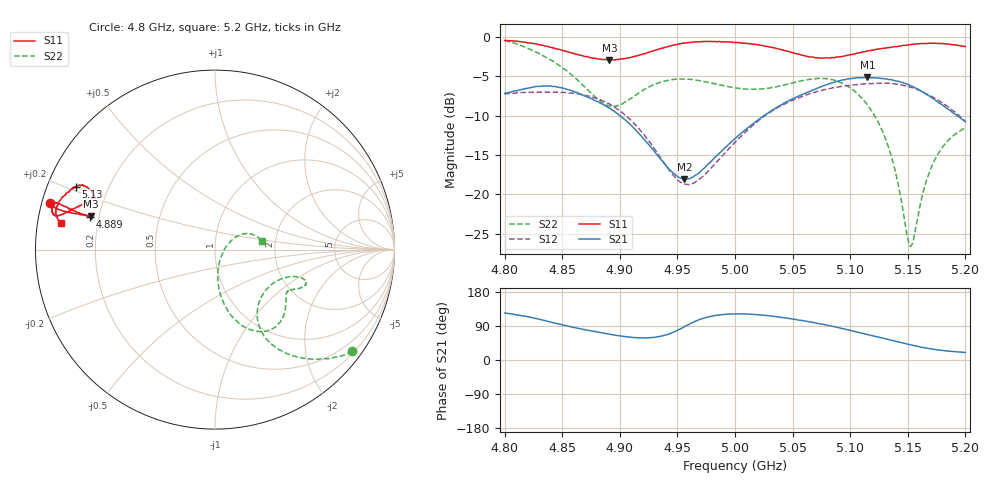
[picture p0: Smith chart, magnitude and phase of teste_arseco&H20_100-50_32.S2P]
! Network Analyzer HP8722D
! Hewlett-Packard
! Data name: Linha & Wilkinson
! Saver's name: Rodrigo Anjos
! Comments: Teste da utilização de aquisição
! continua pelo VNA HP8722D
! Time and date: 6/5/2025 12:50
!  Frequency  S11  S21  S12  S22
# HZ  S  MA R 50
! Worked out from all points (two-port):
!   401 points, 4.8 GHz to 5.2 GHz, reference 50 ohm
!   highest |S21| = -5.13 dB at 5.115 GHz (marker M1); lowest = -18.1 dB at 4.956 GHz (marker M2)
!   |S21| within 3 dB of the highest: start of sweep to 4.879 GHz; 5.046 GHz to 5.175 GHz (128.5 MHz wide, 2.52 % of centre)
!   lowest |S11| = -2.9 dB at 4.891 GHz (marker M3), VSWR 6.04, Z = 8.41 + j6.39 ohm
!   |S11| at or under -10 dB: nowhere
!   |S22| runs from -26.6 to -0.4 dB; largest |S21 - S12| = 0.71
!   S11 on the Smith chart (normalised r, x): 4.8 GHz: 0.02, +0.14; 4.889 GHz: 0.17, +0.13; 5.13 GHz: 0.09, +0.21; 5.2 GHz: 0.07, +0.09
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4.8e9  0.9531 164.3  0.4392 124.1  0.4354 19.0  0.9521 -36.6
4.833e9  0.888 165.5  0.4878 105.4  0.4459 8.9  0.7646 -51.9
4.867e9  0.7637 165.2  0.4307 81.4  0.4315 -5.2  0.5029 -60.2
4.889e9  0.7185 165.1  0.3596 69.2  0.381 -18.1  0.3681 -45.2
4.891e9  0.716 165.0  0.3531 68.1  0.3761 -19.4  0.3643 -42.5
4.91e9  0.7434 165.2  0.2735 59.9  0.2938 -30.4  0.4091 -23.1
4.934e9  0.8399 164.3  0.1726 61.7  0.1775 -32.7  0.5135 -18.4
4.956e9  0.9157 163.5  0.1247 87.6  0.1164 -5.5  0.5406 -21.2
4.969e9  0.9355 164.1  0.1373 106.7  0.1242 16.8  0.5293 -23.5
5e9  0.9257 167.4  0.226 121.5  0.2146 39.8  0.4757 -28.2
5.036e9  0.8466 165.6  0.3563 114.2  0.3524 35.2  0.4841 -35.2
5.067e9  0.7481 158.7  0.4596 99.6  0.4421 21.8  0.5423 -47.6
5.092e9  0.7525 155.0  0.5317 83.7  0.4857 8.0  0.5143 -62.6
5.115e9  0.8148 154.1  0.5541 67.2  0.5039 -5.7  0.3711 -76.6
5.13e9  0.8492 155.7  0.5416 56.6  0.5098 -15.2  0.232 -83.9
5.134e9  0.8588 156.2  0.5365 53.6  0.5078 -18.1  0.1914 -84.7
5.141e9  0.8734 157.9  0.5246 48.4  0.5023 -22.8  0.1223 -82.3
5.15e9  0.8914 160.3  0.4986 41.7  0.486 -28.9  0.05206 -48.9
5.153e9  0.8987 160.8  0.4877 39.6  0.4778 -31.1  0.04691 -19.0
5.164e9  0.9107 163.8  0.4435 32.4  0.4454 -37.6  0.1076 29.5
5.172e9  0.9153 165.4  0.4066 28.6  0.4148 -42.2  0.158 30.6
5.2e9  0.8726 170.0  0.2895 19.8  0.2923 -52.2  0.2648 10.1
